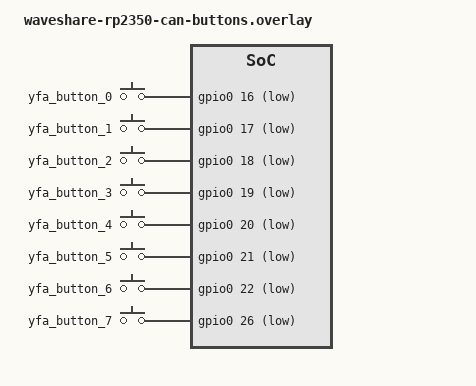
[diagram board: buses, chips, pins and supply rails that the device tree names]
#include <zephyr/dt-bindings/gpio/gpio.h>

/*
 * Waveshare RP2350-CAN virtual button wiring example.
 * This is a reference overlay, not automatically selected by the build.
 * Verify pins against the active board DTS and your connected hardware.
 */
/* Bridle defaults to PWM LED on GPIO9, which is also CAN SPI CS.
 * Preserve the existing GPIO25 user LED and CAN activity indication.
 */
&gpio_leds { status = "okay"; };
&pwm_leds { status = "disabled"; };

/ {
    aliases {
        yfa-button0 = &yfa_button_0;
        yfa-button1 = &yfa_button_1;
        yfa-button2 = &yfa_button_2;
        yfa-button3 = &yfa_button_3;
        yfa-button4 = &yfa_button_4;
        yfa-button5 = &yfa_button_5;
        yfa-button6 = &yfa_button_6;
        yfa-button7 = &yfa_button_7;
    };
    yfa_buttons: yfa_buttons {
        compatible = "gpio-keys";
        yfa_button_0: yfa_button_0 { gpios = <&gpio0 16 GPIO_ACTIVE_LOW>; };
        yfa_button_1: yfa_button_1 { gpios = <&gpio0 17 GPIO_ACTIVE_LOW>; };
        yfa_button_2: yfa_button_2 { gpios = <&gpio0 18 GPIO_ACTIVE_LOW>; };
        yfa_button_3: yfa_button_3 { gpios = <&gpio0 19 GPIO_ACTIVE_LOW>; };
        yfa_button_4: yfa_button_4 { gpios = <&gpio0 20 GPIO_ACTIVE_LOW>; };
        yfa_button_5: yfa_button_5 { gpios = <&gpio0 21 GPIO_ACTIVE_LOW>; };
        yfa_button_6: yfa_button_6 { gpios = <&gpio0 22 GPIO_ACTIVE_LOW>; };
        yfa_button_7: yfa_button_7 { gpios = <&gpio0 26 GPIO_ACTIVE_LOW>; };
    };
};
